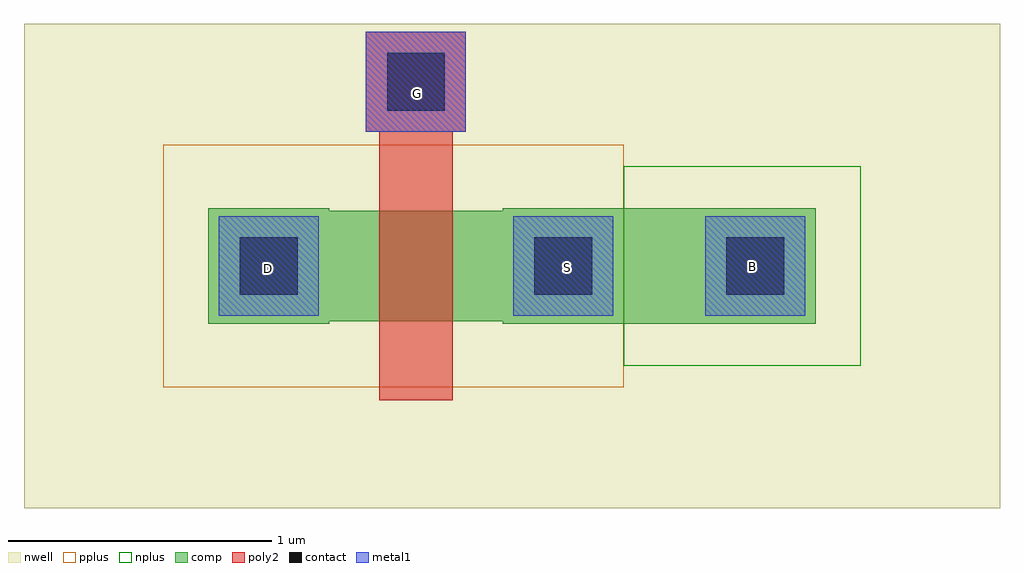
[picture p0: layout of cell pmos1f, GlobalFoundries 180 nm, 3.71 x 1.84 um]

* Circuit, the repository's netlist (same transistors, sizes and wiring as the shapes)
* Extracted by KLayout with GF180MCU LVS runset on : 16/02/2024 19:01

.SUBCKT pmos1f B D S G
M$1 S G D B pfet_03v3 L=0.28U W=0.42U AS=0.2822P AD=0.2822P PS=2.18U PD=2.18U
.ENDS pmos1f

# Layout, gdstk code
import gdstk
lib = gdstk.Library(unit=1e-6, precision=5e-09)
def R(c, l, rs):  # rectangles x0, y0, x1, y1
    for r in rs: c.add(gdstk.rectangle(r[:2], r[2:], *l))
nwell = (21, 0)
comp = (22, 0)
poly2 = (30, 0)
pplus = (31, 0)
nplus = (32, 0)
contact = (33, 0)
metal1 = (34, 0)

pfet_1 = lib.new_cell('pfet$1')
R(pfet_1, nwell, [(-1.16,-0.71,2.55,1.13)])
R(pfet_1, comp, [(-0.46,-0.01,0,0.43), (0.66,-0.01,1.12,0.43), (1.12,-0.01,1.85,0.43), (0,0,0.66,0.42)])
R(pfet_1, poly2, [(0.19,-0.3,0.47,0.72), (0.14,0.72,0.52,1.1)])
R(pfet_1, pplus, [(-0.63,-0.25,1.12,0.67)])
R(pfet_1, nplus, [(1.12,-0.17,2.02,0.59)])
R(pfet_1, contact, [(-0.34,0.1,-0.12,0.32), (0.78,0.1,1,0.32), (1.51,0.1,1.73,0.32), (0.22,0.8,0.44,1.02)])
R(pfet_1, metal1, [(-0.42,0.02,-0.04,0.4), (0.7,0.02,1.08,0.4), (1.43,0.02,1.81,0.4), (0.14,0.72,0.52,1.1)])

pmos1f = lib.new_cell('pmos1f')
R(pmos1f, metal1, [(-1.065,0.01,-1.055,0.02), (0.775,0.02,0.785,0.03), (-0.5,0.675,-0.49,0.685)])
pmos1f.add(gdstk.Reference(pfet_1, (-0.83,-0.185)))
pmos1f.add(gdstk.Label('G', (-0.495,0.68), layer=34, texttype=10))
pmos1f.add(gdstk.Label('D', (-1.06,0.015), layer=34, texttype=10))
pmos1f.add(gdstk.Label('S', (0.075,0.02), layer=34, texttype=10))
pmos1f.add(gdstk.Label('B', (0.78,0.025), layer=34, texttype=10))

lib.write_gds('pmos1f.gds')
